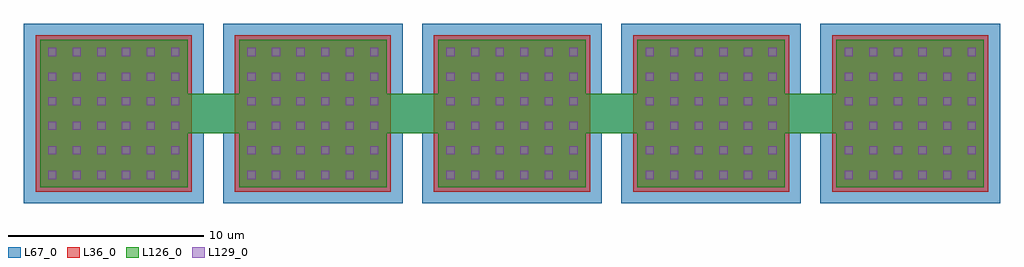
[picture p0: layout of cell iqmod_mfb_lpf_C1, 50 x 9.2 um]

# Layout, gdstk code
import gdstk
lib = gdstk.Library(unit=1e-6, precision=5e-09)
def R(c, l, rs):  # rectangles x0, y0, x1, y1
    for r in rs: c.add(gdstk.rectangle(r[:2], r[2:], *l))
def A(c, l, x, y, w, h, nx, ny, dx, dy):  # array of equal rectangles
    R(c, l, [(x+i*dx, y+j*dy, x+i*dx+w, y+j*dy+h) for i in range(nx) for j in range(ny)])
L36_0 = (36, 0)
L67_0 = (67, 0)
L126_0 = (126, 0)
L129_0 = (129, 0)

cmim = lib.new_cell('cmim')
R(cmim, L36_0, [(0,0,8,8)])
R(cmim, L67_0, [(-0.6,-0.6,8.6,8.6)])
R(cmim, L126_0, [(0.22,0.22,7.78,7.78)])
A(cmim, L129_0, 0.64, 0.64, 0.42, 0.42, 6, 6, 1.26, 1.26)

iqmod_mfb_lpf_c1 = lib.new_cell('iqmod_mfb_lpf_C1')
iqmod_mfb_lpf_c1.add(gdstk.FlexPath([(9.2,4.6),(10.2,4.6),(10.2,4.6)], 2, ends="flush", simple_path=True, layer=67, datatype=0))  # L67_0
iqmod_mfb_lpf_c1.add(gdstk.FlexPath([(19.4,4.6),(20.4,4.6)], 2, ends="flush", simple_path=True, layer=67, datatype=0))  # L67_0
iqmod_mfb_lpf_c1.add(gdstk.FlexPath([(29.6,4.6),(30.6,4.6)], 2, ends="flush", simple_path=True, layer=67, datatype=0))  # L67_0
iqmod_mfb_lpf_c1.add(gdstk.FlexPath([(39.8,4.6),(40.8,4.6)], 2, ends="flush", simple_path=True, layer=67, datatype=0))  # L67_0
iqmod_mfb_lpf_c1.add(gdstk.FlexPath([(8.38,4.6),(11.02,4.6),(11.02,4.6)], 2, ends="flush", simple_path=True, layer=126, datatype=0))  # L126_0
iqmod_mfb_lpf_c1.add(gdstk.FlexPath([(18.58,4.6),(21.22,4.6)], 2, ends="flush", simple_path=True, layer=126, datatype=0))  # L126_0
iqmod_mfb_lpf_c1.add(gdstk.FlexPath([(28.78,4.6),(31.42,4.6)], 2, ends="flush", simple_path=True, layer=126, datatype=0))  # L126_0
iqmod_mfb_lpf_c1.add(gdstk.FlexPath([(38.98,4.6),(41.62,4.6)], 2, ends="flush", simple_path=True, layer=126, datatype=0))  # L126_0
iqmod_mfb_lpf_c1.add(gdstk.Reference(cmim, (41.4,0.6)))
iqmod_mfb_lpf_c1.add(gdstk.Reference(cmim, (21,0.6)))
iqmod_mfb_lpf_c1.add(gdstk.Reference(cmim, (10.8,0.6)))
iqmod_mfb_lpf_c1.add(gdstk.Reference(cmim, (0.6,0.6)))
iqmod_mfb_lpf_c1.add(gdstk.Reference(cmim, (31.2,0.6)))

lib.write_gds('iqmod_mfb_lpf_C1.gds')
